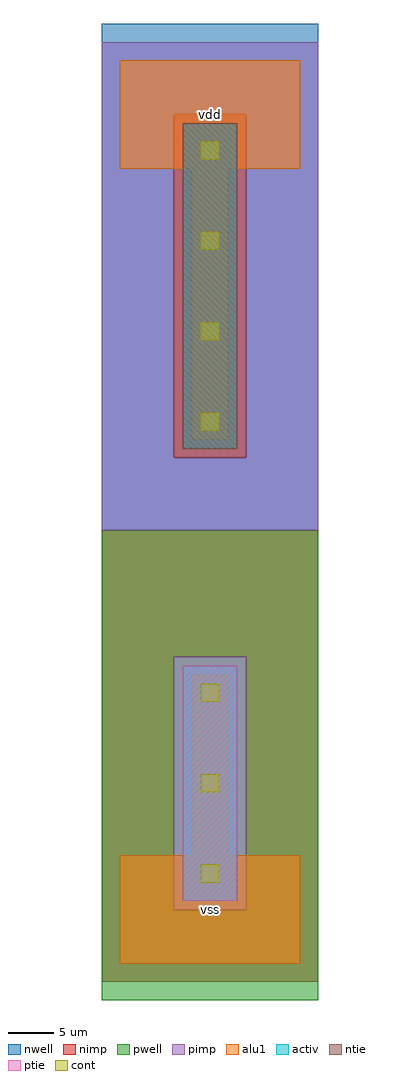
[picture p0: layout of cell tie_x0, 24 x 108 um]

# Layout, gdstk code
import gdstk
lib = gdstk.Library(unit=1e-6, precision=1e-09)
def R(c, l, rs):  # rectangles x0, y0, x1, y1
    for r in rs: c.add(gdstk.rectangle(r[:2], r[2:], *l))
def A(c, l, x, y, w, h, nx, ny, dx, dy):  # array of equal rectangles
    R(c, l, [(x+i*dx, y+j*dy, x+i*dx+w, y+j*dy+h) for i in range(nx) for j in range(ny)])
ntie = (5, 0)
ptie = (6, 0)
cont = (25, 0)
pwell = (41, 0)
nwell = (42, 0)
activ = (43, 0)
pimp = (44, 0)
nimp = (45, 0)
alu1 = (49, 0)

tie_x0 = lib.new_cell('tie_x0')
R(tie_x0, ntie, [(7,57,13,93)])
R(tie_x0, ptie, [(7,7,13,33)])
A(tie_x0, cont, 9, 9, 2, 2, 1, 3, 0, 10)
A(tie_x0, cont, 9, 59, 2, 2, 1, 4, 0, 10)
R(tie_x0, pwell, [(-2,-4,22,48)])
R(tie_x0, nwell, [(-2,48,22,104)])
R(tie_x0, activ, [(7,7,13,33), (7,57,13,93)])
R(tie_x0, pimp, [(6,6,14,34), (-2,48,22,56), (-2,56,6,94), (14,56,22,94), (-2,94,22,102)])
R(tie_x0, nimp, [(-2,-2,22,6), (-2,6,6,34), (14,6,22,34), (-2,34,22,48), (6,56,14,94)])
R(tie_x0, alu1, [(0,0,20,12), (8,12,12,32), (8,58,12,88), (0,88,20,100)])
tie_x0.add(gdstk.Label('vss', (10,6), layer=49, texttype=0))
tie_x0.add(gdstk.Label('vdd', (10,94), layer=49, texttype=0))

lib.write_gds('tie_x0.gds')
